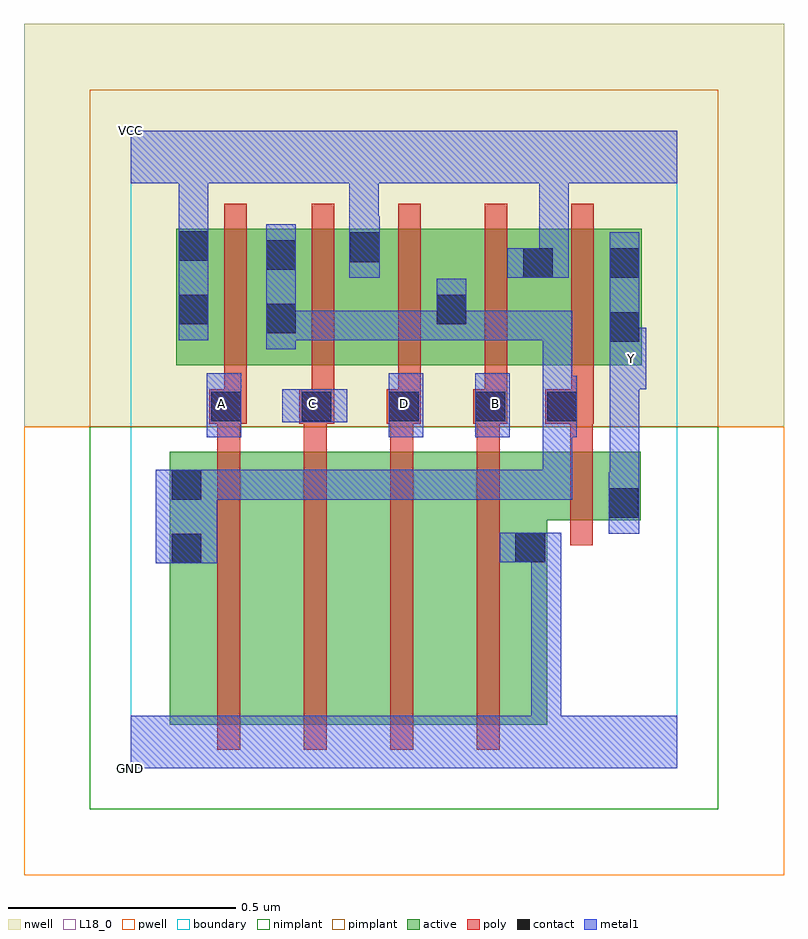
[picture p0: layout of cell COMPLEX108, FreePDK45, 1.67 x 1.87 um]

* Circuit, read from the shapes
.subckt COMPLEX108 A B C D GND VCC Y
M1 n1 A n2 VSUBS nfet w=0.6u l=0.05u
M2 n3 C n1 VSUBS nfet w=0.6u l=0.05u
M3 n4 D n3 VSUBS nfet w=0.6u l=0.05u
M4 GND B n4 VSUBS nfet w=0.6u l=0.05u
M5 Y n2 GND VSUBS nfet w=0.15u l=0.05u
M6 n2 A VCC n5 pfet w=0.3u l=0.05u
M7 VCC C n2 n5 pfet w=0.3u l=0.05u
M8 n2 D VCC n5 pfet w=0.3u l=0.05u
M9 VCC B n2 n5 pfet w=0.3u l=0.05u
M10 Y n2 VCC n5 pfet w=0.3u l=0.05u
.ends

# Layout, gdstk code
import gdstk
lib = gdstk.Library(unit=1e-6, precision=1e-09)
def R(c, l, rs):  # rectangles x0, y0, x1, y1
    for r in rs: c.add(gdstk.rectangle(r[:2], r[2:], *l))
def A(c, l, x, y, w, h, nx, ny, dx, dy):  # array of equal rectangles
    R(c, l, [(x+i*dx, y+j*dy, x+i*dx+w, y+j*dy+h) for i in range(nx) for j in range(ny)])
active = (1, 0)
pwell = (2, 0)
nwell = (3, 0)
nimplant = (4, 0)
pimplant = (5, 0)
poly = (9, 0)
contact = (10, 0)
metal1 = (11, 0)
L18_0 = (18, 0)
boundary = (235, 0)

complex108 = lib.new_cell('COMPLEX108')
A(complex108, active, 0.477, 0.885, 0.265, 0.3, 3, 1, 0.19, 0)
R(complex108, active, [(0.085,0.095,0.31,0.695), (0.085,0.095,0.19,0.695), (0.31,0.095,0.5,0.695), (0.5,0.095,0.69,0.695), (0.69,0.095,0.915,0.695), (0.84,0.095,0.915,0.545), (0.84,0.545,1.12,0.695), (1.045,0.545,1.12,0.695), (0.1,0.885,0.175,1.185), (0.1,0.885,0.367,1.185), (0.292,0.885,0.367,1.167), (0.292,0.885,0.552,1.185), (0.667,0.885,0.742,1.167), (1.047,0.885,1.122,1.185), (0.477,1.002,0.552,1.182), (0.857,1.002,0.932,1.182)])
R(complex108, pwell, [(-0.235,-0.235,1.435,0.75)])
R(complex108, nwell, [(-0.235,0.75,1.435,1.635)])
R(complex108, nimplant, [(-0.09,-0.09,1.29,0.75)])
R(complex108, pimplant, [(-0.09,0.75,1.29,1.49)])
A(complex108, poly, 0.19, 0.04, 0.05, 0.71, 4, 1, 0.19, 0)
A(complex108, poly, 0.19, 0.7, 0.05, 0.107, 4, 1, 0.19, 0)
A(complex108, poly, 0.397, 0.782, 0.05, 0.098, 4, 1, 0.19, 0)
A(complex108, poly, 0.397, 0.83, 0.05, 0.41, 4, 1, 0.19, 0)
R(complex108, poly, [(0.965,0.49,1.015,0.75), (0.965,0.7,1.015,0.807), (0.172,0.757,0.255,0.832), (0.37,0.757,0.447,0.832), (0.562,0.757,0.637,0.832), (0.752,0.757,0.827,0.832), (0.91,0.757,1.017,0.832), (0.205,0.782,0.255,0.88), (0.205,0.83,0.255,1.24)])
R(complex108, contact, [(0.09,0.45,0.155,0.515), (0.845,0.452,0.91,0.517), (1.05,0.55,1.115,0.615), (0.09,0.59,0.155,0.655), (0.177,0.762,0.242,0.827), (0.375,0.762,0.44,0.827), (0.567,0.762,0.632,0.827), (0.757,0.762,0.822,0.827), (0.915,0.762,0.98,0.827), (1.052,0.937,1.117,1.002), (0.297,0.955,0.362,1.02), (0.105,0.975,0.17,1.04), (0.672,0.975,0.737,1.04), (0.862,1.077,0.927,1.142), (1.052,1.077,1.117,1.142), (0.297,1.095,0.362,1.16), (0.482,1.112,0.547,1.177), (0.105,1.115,0.17,1.18)])
R(complex108, metal1, [(0,0,1.2,0.115), (0.88,0.05,0.945,0.517), (0.055,0.45,0.19,0.655), (0.81,0.452,0.945,0.517), (1.05,0.515,1.117,0.65), (1.052,0.585,1.117,0.897), (0.125,0.59,0.19,0.655), (0.125,0.59,0.19,0.655), (0.125,0.59,0.362,0.655), (0.297,0.59,0.362,0.655), (0.297,0.59,0.362,0.655), (0.297,0.59,0.362,0.655), (0.297,0.59,0.5,0.655), (0.435,0.59,0.5,0.655), (0.435,0.59,0.6,0.655), (0.535,0.59,0.6,0.655), (0.535,0.59,0.637,0.655), (0.572,0.59,0.637,0.655), (0.572,0.59,0.842,0.655), (0.777,0.59,0.842,0.655), (0.777,0.59,0.97,0.655), (0.905,0.59,0.97,0.655), (0.905,0.59,0.97,0.792), (0.167,0.727,0.242,0.867), (0.567,0.727,0.642,0.867), (0.757,0.727,0.832,0.867), (0.905,0.727,0.97,0.792), (0.905,0.727,0.98,0.792), (0.905,0.727,0.97,1.005), (0.915,0.727,0.98,0.862), (0.332,0.76,0.475,0.832), (1.052,0.832,1.132,0.967), (1.052,0.902,1.117,0.967), (1.052,0.902,1.117,1.177), (0.297,0.92,0.362,1.195), (0.105,0.94,0.17,1.215), (0.297,0.94,0.362,1.005), (0.297,0.94,0.362,1.005), (0.297,0.94,0.5,1.005), (0.435,0.94,0.5,1.005), (0.435,0.94,0.5,1.005), (0.435,0.94,0.5,1.005), (0.435,0.94,0.737,1.005), (0.672,0.94,0.737,1.005), (0.672,0.94,0.737,1.005), (0.672,0.94,0.737,1.075), (0.672,0.94,0.97,1.005), (0.905,0.94,0.97,1.005), (0.48,1.077,0.547,1.212), (0.827,1.077,0.962,1.142), (0.897,1.077,0.962,1.35), (0.48,1.147,0.545,1.212), (0.48,1.147,0.545,1.212), (0.48,1.147,0.545,1.35), (0.105,1.15,0.17,1.35), (0,1.285,1.2,1.4), (0.105,1.285,0.17,1.35), (0.105,1.285,0.17,1.35), (0.897,1.285,0.962,1.35), (0.897,1.285,0.962,1.35)])
A(complex108, L18_0, 0.167, 0.767, 0.065, 0.065, 4, 1, 0.2, 0)
R(complex108, L18_0, [(0,0,1.2,0.115), (0.88,0.05,0.945,0.517), (0.81,0.452,0.945,0.517), (1.05,0.515,1.117,0.65), (1.052,0.585,1.117,0.897), (0.167,0.727,0.242,0.867), (0.567,0.727,0.642,0.867), (0.757,0.727,0.832,0.867), (0.332,0.76,0.475,0.832), (1.052,0.832,1.132,0.967), (1.067,0.867,1.132,0.932), (1.052,0.902,1.117,1.177), (1.052,0.902,1.117,0.967), (0.105,0.94,0.17,1.215), (0.48,1.077,0.547,1.212), (0.827,1.077,0.962,1.142), (0.897,1.077,0.962,1.35), (0.48,1.147,0.545,1.212), (0.48,1.147,0.545,1.212), (0.48,1.147,0.545,1.35), (0.105,1.15,0.17,1.35), (0,1.285,1.2,1.4), (0.105,1.285,0.17,1.35), (0.105,1.285,0.17,1.35), (0.897,1.285,0.962,1.35), (0.897,1.285,0.962,1.35)])
R(complex108, boundary, [(0,0,1.2,1.4)])
complex108.add(gdstk.Label('A', (0.2,0.8), layer=11, texttype=0))
complex108.add(gdstk.Label('B', (0.8,0.8), layer=11, texttype=0))
complex108.add(gdstk.Label('C', (0.4,0.8), layer=11, texttype=0))
complex108.add(gdstk.Label('D', (0.6,0.8), layer=11, texttype=0))
complex108.add(gdstk.Label('Y', (1.1,0.9), layer=11, texttype=0))
complex108.add(gdstk.Label('VCC', (0,1.4), layer=11, texttype=0))
complex108.add(gdstk.Label('GND', (0,0), layer=11, texttype=0))

lib.write_gds('COMPLEX108.gds')
